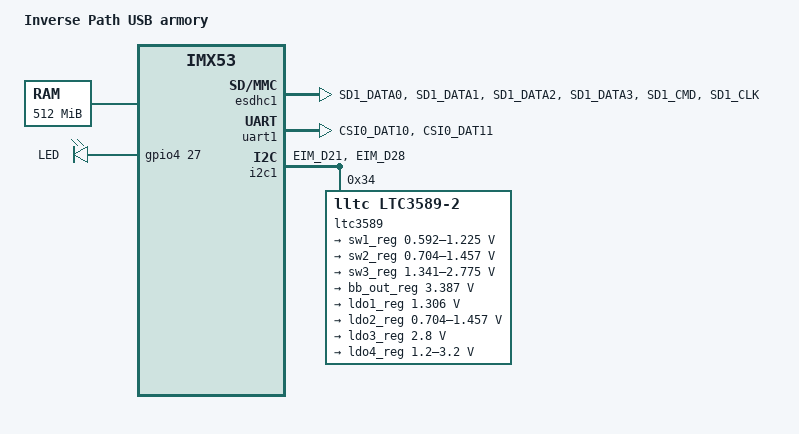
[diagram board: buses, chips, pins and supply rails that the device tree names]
/*
 * USB armory MkI device tree include file
 * https://inversepath.com/usbarmory
 *
 * Copyright (C) 2015, Inverse Path
 * Andrej Rosano <andrej@inversepath.com>
 *
 * This file is dual-licensed: you can use it either under the terms
 * of the GPL or the X11 license, at your option. Note that this dual
 * licensing only applies to this file, and not this project as a
 * whole.
 *
 *  a) This file is free software; you can redistribute it and/or
 *     modify it under the terms of the GNU General Public License as
 *     published by the Free Software Foundation; either version 2 of the
 *     License, or (at your option) any later version.
 *
 *     This file is distributed in the hope that it will be useful,
 *     but WITHOUT ANY WARRANTY; without even the implied warranty of
 *     MERCHANTABILITY or FITNESS FOR A PARTICULAR PURPOSE.  See the
 *     GNU General Public License for more details.
 *
 * Or, alternatively,
 *
 *  b) Permission is hereby granted, free of charge, to any person
 *     obtaining a copy of this software and associated documentation
 *     files (the "Software"), to deal in the Software without
 *     restriction, including without limitation the rights to use,
 *     copy, modify, merge, publish, distribute, sublicense, and/or
 *     sell copies of the Software, and to permit persons to whom the
 *     Software is furnished to do so, subject to the following
 *     conditions:
 *
 *     The above copyright notice and this permission notice shall be
 *     included in all copies or substantial portions of the Software.
 *
 *     THE SOFTWARE IS PROVIDED "AS IS", WITHOUT WARRANTY OF ANY KIND,
 *     EXPRESS OR IMPLIED, INCLUDING BUT NOT LIMITED TO THE WARRANTIES
 *     OF MERCHANTABILITY, FITNESS FOR A PARTICULAR PURPOSE AND
 *     NONINFRINGEMENT. IN NO EVENT SHALL THE AUTHORS OR COPYRIGHT
 *     HOLDERS BE LIABLE FOR ANY CLAIM, DAMAGES OR OTHER LIABILITY,
 *     WHETHER IN AN ACTION OF CONTRACT, TORT OR OTHERWISE, ARISING
 *     FROM, OUT OF OR IN CONNECTION WITH THE SOFTWARE OR THE USE OR
 *     OTHER DEALINGS IN THE SOFTWARE.
 */

#include "imx53.dtsi"

/ {
	model = "Inverse Path USB armory";
	compatible = "inversepath,imx53-usbarmory", "fsl,imx53";
};

/ {
	chosen {
		stdout-path = &uart1;
	};

	memory {
		reg = <0x70000000 0x20000000>;
	};

	leds {
		compatible = "gpio-leds";
		pinctrl-names = "default";
		pinctrl-0 = <&led_pin_gpio4_27>;

		user {
			label = "LED";
			gpios = <&gpio4 27 0>;
			linux,default-trigger = "heartbeat";
		};
	};

	soc {
		aips@60000000 {
			scc2: scc2@63fb4000 {
				compatible = "fsl,imx53-scc2";
				reg = <0x63fb4000 0x4000>,
				      <0x07000000 0x4000>;
				interrupts = <21 23>;
			};
		};
	};
};

&cpu0 {
	device_type = "cpu";
	compatible = "arm,cortex-a8";
	reg = <0x0>;
	clocks = <&clks IMX5_CLK_ARM>;
	clock-latency = <61036>;
	voltage-tolerance = <5>;
	operating-points = <
		/* kHz */
		 166666  850000
		 400000  900000
		 800000 1050000
	>;
};

&esdhc1 {
	pinctrl-names = "default";
	pinctrl-0 = <&pinctrl_esdhc1>;
	status = "okay";
};

&iomuxc {
	pinctrl-names = "default";

	imx53-usbarmory {
		led_pin_gpio4_27: led_gpio4_27@0 {
			fsl,pins = <
				MX53_PAD_DISP0_DAT6__GPIO4_27 0x0
			>;
		};

		pinctrl_esdhc1: esdhc1grp {
			fsl,pins = <
				MX53_PAD_SD1_DATA0__ESDHC1_DAT0		0x1d5
				MX53_PAD_SD1_DATA1__ESDHC1_DAT1		0x1d5
				MX53_PAD_SD1_DATA2__ESDHC1_DAT2		0x1d5
				MX53_PAD_SD1_DATA3__ESDHC1_DAT3		0x1d5
				MX53_PAD_SD1_CMD__ESDHC1_CMD		0x1d5
				MX53_PAD_SD1_CLK__ESDHC1_CLK		0x1d5
			>;
		};

		pinctrl_i2c1_pmic: i2c1grp_pmic {
			fsl,pins = <
				MX53_PAD_EIM_D21__I2C1_SCL	0x0
				MX53_PAD_EIM_D28__I2C1_SDA	0x0
			>;
		};

		/*
		UART mode pin header configration:
		pin number:	1     2     3     4     5      6      7
		function:	GND   5V    ?     ?     TX     RX     ?
		*/
		pinctrl_uart1: uart1grp {
			fsl,pins = <
				MX53_PAD_CSI0_DAT10__UART1_TXD_MUX	0x1e4
				MX53_PAD_CSI0_DAT11__UART1_RXD_MUX	0x1e4
			>;
		};

		/*
		GPIO mode pin header configuration:
		1     2     3         4         5         6         7
		GND   5V    GPIO5[26] GPIO5[27] GPIO5[28] GPIO5[29] GPIO5[30]
		*/
		pinctrl_gpio5: gpio5grp {
			fsl,pins = <
				MX53_PAD_CSI0_DAT8__GPIO5_26	0xc0
				MX53_PAD_CSI0_DAT9__GPIO5_27	0xc0
				MX53_PAD_CSI0_DAT10__GPIO5_28	0xc0
				MX53_PAD_CSI0_DAT11__GPIO5_29	0xc0
				MX53_PAD_CSI0_DAT12__GPIO5_30	0xc0
			>;
		};

		/*
		SPI mode pin header configuration:
		1     2     3      4      5      6      7
		GND   5V    SCLK   MOSI   MISO   /SS0   /SS1
		*/
		pinctrl_ecspi2: ecspi2grp {
			fsl,pins = <
				MX53_PAD_CSI0_DAT8__ECSPI2_SCLK		0x0
				MX53_PAD_CSI0_DAT9__ECSPI2_MOSI		0x0
				MX53_PAD_CSI0_DAT10__ECSPI2_MISO	0x0
				MX53_PAD_CSI0_DAT11__GPIO5_29		0x0
				MX53_PAD_CSI0_DAT12__GPIO5_30		0x0
			>;
		};

		/*
		WILC1000 wifi module pin header configuration:
		1     2     3      4      5      6      7
		GND   5V    SCLK   MOSI   MISO   /SS0   GPIO_IRQ
		*/
		pinctrl_wilc1000: wilc1000grp {
			fsl,pins = <
				MX53_PAD_CSI0_DAT8__ECSPI2_SCLK		0x0
				MX53_PAD_CSI0_DAT9__ECSPI2_MOSI		0x0
				MX53_PAD_CSI0_DAT10__ECSPI2_MISO	0x0
				MX53_PAD_CSI0_DAT11__GPIO5_29		0x0
				MX53_PAD_CSI0_DAT12__GPIO5_30		0xc0
			>;
		};

		/*
		I2C mode pin header configuration:
		1     2    3     4     5          6          7
		GND   5V   SDA   SCL   GPIO5[28]  GPIO5[29]  GPIO5[30]
		*/
		pinctrl_i2c1_pinheader: i2c1grp_pinheader {
			fsl,pins = <
				MX53_PAD_CSI0_DAT8__I2C1_SDA	0x0
				MX53_PAD_CSI0_DAT9__I2C1_SCL	0x0
				MX53_PAD_CSI0_DAT10__GPIO5_28	0xc0
				MX53_PAD_CSI0_DAT11__GPIO5_29	0xc0
				MX53_PAD_CSI0_DAT12__GPIO5_30	0xc0
			>;
		};
	};
};

&uart1 {
	pinctrl-names = "default";
	pinctrl-0 = <&pinctrl_uart1>;
	status = "okay";
};

&i2c1 {
	pinctrl-0 = <&pinctrl_i2c1_pmic>;
	status = "okay";
	ltc3589: pmic@34 {
		compatible = "lltc,ltc3589-2";
		reg = <0x34>;
		regulators {
			sw1_reg: sw1 {
				regulator-min-microvolt = <591930>;
				regulator-max-microvolt = <1224671>;
				lltc,fb-voltage-divider = <100000 158000>;
				regulator-ramp-delay = <7000>;
				regulator-boot-on;
				regulator-always-on;
			};

			sw2_reg: sw2 {
				regulator-min-microvolt = <704123>;
				regulator-max-microvolt = <1456803>;
				lltc,fb-voltage-divider = <180000 191000>;
				regulator-ramp-delay = <7000>;
				regulator-boot-on;
				regulator-always-on;
			};

			sw3_reg: sw3 {
				regulator-min-microvolt = <1341250>;
				regulator-max-microvolt = <2775000>;
				lltc,fb-voltage-divider = <270000 100000>;
				regulator-ramp-delay = <7000>;
				regulator-boot-on;
				regulator-always-on;
			};

			bb_out_reg: bb-out {
				regulator-min-microvolt = <3387341>;
				regulator-max-microvolt = <3387341>;
				lltc,fb-voltage-divider = <511000 158000>;
				regulator-boot-on;
				regulator-always-on;
			};
			ldo1_reg: ldo1 {
				regulator-min-microvolt = <1306329>;
				regulator-max-microvolt = <1306329>;
				lltc,fb-voltage-divider = <100000 158000>;
				regulator-boot-on;
				regulator-always-on;
			};

			ldo2_reg: ldo2 {
				regulator-min-microvolt = <704123>;
				regulator-max-microvolt = <1456806>;
				lltc,fb-voltage-divider = <180000 191000>;
				regulator-ramp-delay = <7000>;
				regulator-boot-on;
				regulator-always-on;
			};

			ldo3_reg: ldo3 {
				regulator-min-microvolt = <2800000>;
				regulator-max-microvolt = <2800000>;
				regulator-boot-on;
			};

			ldo4_reg: ldo4 {
				regulator-min-microvolt = <1200000>;
				regulator-max-microvolt = <3200000>;
			};
		};
	};
};
